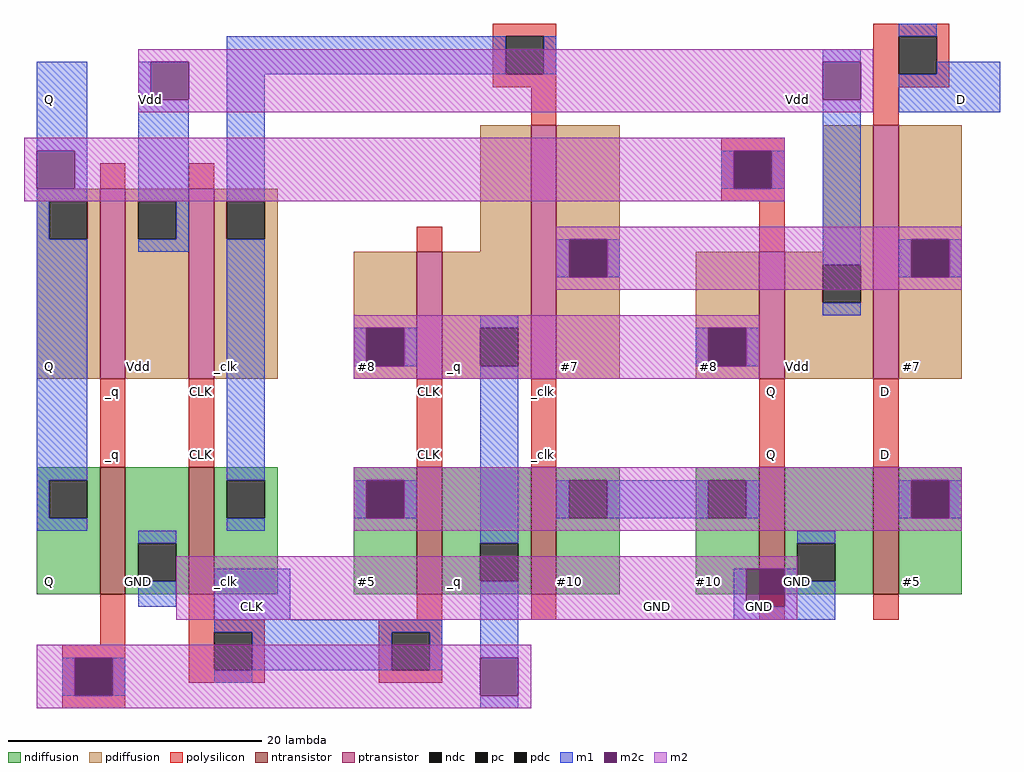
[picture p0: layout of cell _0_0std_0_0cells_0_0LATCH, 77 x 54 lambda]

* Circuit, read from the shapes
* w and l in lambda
.subckt _0_0std_0_0cells_0_0LATCH #10 #5 #7 #8 CLK D GND Q Vdd _clk _q
M1 GND _q Q VSUBS nfet w=10 l=2
M2 _clk CLK GND VSUBS nfet w=10 l=2
M3 _q CLK #5 VSUBS nfet w=10 l=2
M4 #10 _clk _q VSUBS nfet w=10 l=2
M5 GND Q #10 VSUBS nfet w=10 l=2
M6 #5 D GND VSUBS nfet w=10 l=2
M7 Vdd _q Q NWELL pfet w=15 l=2
M8 _clk CLK Vdd NWELL pfet w=15 l=2
M9 _q CLK #8 NWELL pfet w=10 l=2
M10 #7 _clk _q NWELL pfet w=20 l=2
M11 Vdd Q #8 NWELL pfet w=10 l=2
M12 #7 D Vdd NWELL pfet w=20 l=2
.ends

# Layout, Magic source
magic
tech sky130l
<< ndiffusion >>
rect 8 15 13 16
rect 8 12 9 15
rect 12 12 13 15
rect 8 6 13 12
rect 15 10 20 16
rect 15 7 16 10
rect 19 7 20 10
rect 15 6 20 7
rect 22 15 27 16
rect 22 12 23 15
rect 26 12 27 15
rect 22 6 27 12
rect 33 15 38 16
rect 33 12 34 15
rect 37 12 38 15
rect 33 6 38 12
rect 40 10 47 16
rect 40 7 43 10
rect 46 7 47 10
rect 40 6 47 7
rect 49 15 54 16
rect 49 12 50 15
rect 53 12 54 15
rect 49 6 54 12
rect 60 15 65 16
rect 60 12 61 15
rect 64 12 65 15
rect 60 6 65 12
rect 67 10 74 16
rect 67 7 68 10
rect 71 7 74 10
rect 67 6 74 7
rect 76 15 81 16
rect 76 12 77 15
rect 80 12 81 15
rect 76 6 81 12
<< ndc >>
rect 9 12 12 15
rect 16 7 19 10
rect 23 12 26 15
rect 34 12 37 15
rect 43 7 46 10
rect 50 12 53 15
rect 61 12 64 15
rect 68 7 71 10
rect 77 12 80 15
<< ntransistor >>
rect 13 6 15 16
rect 20 6 22 16
rect 38 6 40 16
rect 47 6 49 16
rect 65 6 67 16
rect 74 6 76 16
<< pdiffusion >>
rect 8 37 13 38
rect 8 34 9 37
rect 12 34 13 37
rect 8 23 13 34
rect 15 37 20 38
rect 15 34 16 37
rect 19 34 20 37
rect 15 23 20 34
rect 22 37 27 38
rect 22 34 23 37
rect 26 34 27 37
rect 22 23 27 34
rect 43 33 47 43
rect 33 27 38 33
rect 33 24 34 27
rect 37 24 38 27
rect 33 23 38 24
rect 40 27 47 33
rect 40 24 43 27
rect 46 24 47 27
rect 40 23 47 24
rect 49 34 54 43
rect 49 31 50 34
rect 53 31 54 34
rect 70 33 74 43
rect 49 23 54 31
rect 60 27 65 33
rect 60 24 61 27
rect 64 24 65 27
rect 60 23 65 24
rect 67 32 74 33
rect 67 29 70 32
rect 73 29 74 32
rect 67 23 74 29
rect 76 34 81 43
rect 76 31 77 34
rect 80 31 81 34
rect 76 23 81 31
<< pdc >>
rect 9 34 12 37
rect 16 34 19 37
rect 23 34 26 37
rect 34 24 37 27
rect 43 24 46 27
rect 50 31 53 34
rect 61 24 64 27
rect 70 29 73 32
rect 77 31 80 34
<< ptransistor >>
rect 13 23 15 38
rect 20 23 22 38
rect 38 23 40 33
rect 47 23 49 43
rect 65 23 67 33
rect 74 23 76 43
<< polysilicon >>
rect 44 50 49 51
rect 44 47 45 50
rect 48 47 49 50
rect 44 46 49 47
rect 47 43 49 46
rect 74 50 80 51
rect 74 47 76 50
rect 79 47 80 50
rect 74 46 80 47
rect 74 43 76 46
rect 13 38 15 40
rect 20 38 22 40
rect 38 33 40 35
rect 62 41 67 42
rect 62 38 63 41
rect 66 38 67 41
rect 62 37 67 38
rect 65 33 67 37
rect 13 16 15 23
rect 20 16 22 23
rect 38 16 40 23
rect 47 16 49 23
rect 65 16 67 23
rect 74 16 76 23
rect 13 2 15 6
rect 10 1 15 2
rect 10 -2 11 1
rect 14 -2 15 1
rect 20 4 22 6
rect 38 4 40 6
rect 47 4 49 6
rect 65 4 67 6
rect 74 4 76 6
rect 20 3 26 4
rect 20 0 22 3
rect 25 0 26 3
rect 20 -1 26 0
rect 35 3 40 4
rect 35 0 36 3
rect 39 0 40 3
rect 35 -1 40 0
rect 10 -3 15 -2
<< pc >>
rect 45 47 48 50
rect 76 47 79 50
rect 63 38 66 41
rect 11 -2 14 1
rect 22 0 25 3
rect 36 0 39 3
<< m1 >>
rect 76 50 79 51
rect 8 41 12 48
rect 11 38 12 41
rect 8 37 12 38
rect 8 34 9 37
rect 8 15 12 34
rect 16 45 17 48
rect 16 37 20 45
rect 19 34 20 37
rect 16 33 20 34
rect 23 47 45 50
rect 48 47 49 50
rect 70 48 73 49
rect 23 37 26 47
rect 62 38 63 41
rect 66 38 67 41
rect 8 12 9 15
rect 8 11 12 12
rect 23 15 26 34
rect 49 31 50 34
rect 53 31 54 34
rect 70 32 73 45
rect 79 47 84 48
rect 76 44 84 47
rect 76 31 77 34
rect 80 31 81 34
rect 70 28 73 29
rect 43 27 46 28
rect 33 24 34 27
rect 37 24 38 27
rect 60 24 61 27
rect 64 24 65 27
rect 33 12 34 15
rect 37 12 38 15
rect 23 11 26 12
rect 16 10 19 11
rect 43 10 46 24
rect 49 12 50 15
rect 53 12 61 15
rect 64 12 65 15
rect 76 12 77 15
rect 80 12 81 15
rect 16 5 19 7
rect 22 4 28 8
rect 68 10 71 11
rect 22 3 40 4
rect 10 -2 11 1
rect 14 -2 15 1
rect 25 0 36 3
rect 39 0 40 3
rect 43 1 46 7
rect 63 5 64 8
rect 67 7 68 8
rect 67 5 71 7
rect 63 4 71 5
rect 22 -1 25 0
rect 43 -3 46 -2
<< m2c >>
rect 8 38 11 41
rect 17 45 20 48
rect 70 45 73 48
rect 63 38 66 41
rect 50 31 53 34
rect 77 31 80 34
rect 34 24 37 27
rect 61 24 64 27
rect 34 12 37 15
rect 77 12 80 15
rect 11 -2 14 1
rect 64 5 67 8
rect 43 -2 46 1
<< m2 >>
rect 16 48 74 49
rect 16 45 17 48
rect 20 45 70 48
rect 73 45 74 48
rect 16 44 74 45
rect 7 41 67 42
rect 7 38 8 41
rect 11 38 63 41
rect 66 38 67 41
rect 7 37 67 38
rect 49 34 81 35
rect 49 31 50 34
rect 53 31 77 34
rect 80 31 81 34
rect 49 30 81 31
rect 33 27 65 28
rect 33 24 34 27
rect 37 24 61 27
rect 64 24 65 27
rect 33 23 65 24
rect 33 15 81 16
rect 33 12 34 15
rect 37 12 77 15
rect 80 12 81 15
rect 33 11 81 12
rect 19 8 68 9
rect 19 5 64 8
rect 67 5 68 8
rect 19 4 68 5
rect 8 1 47 2
rect 8 -2 11 1
rect 14 -2 43 1
rect 46 -2 47 1
rect 8 -3 47 -2
<< labels >>
rlabel ndiffusion 23 7 23 7 3 _clk
rlabel pdiffusion 23 24 23 24 3 _clk
rlabel polysilicon 21 17 21 17 3 CLK
rlabel polysilicon 21 22 21 22 3 CLK
rlabel ndiffusion 16 7 16 7 3 GND
rlabel pdiffusion 16 24 16 24 3 Vdd
rlabel polysilicon 14 17 14 17 3 _q
rlabel polysilicon 14 22 14 22 3 _q
rlabel ndiffusion 9 7 9 7 3 Q
rlabel pdiffusion 9 24 9 24 3 Q
rlabel pdiffusion 50 24 50 24 3 #7
rlabel ndiffusion 50 7 50 7 3 #10
rlabel polysilicon 48 17 48 17 3 _clk
rlabel polysilicon 48 22 48 22 3 _clk
rlabel ndiffusion 41 7 41 7 3 _q
rlabel pdiffusion 41 24 41 24 3 _q
rlabel polysilicon 39 17 39 17 3 CLK
rlabel polysilicon 39 22 39 22 3 CLK
rlabel ndiffusion 34 7 34 7 3 #5
rlabel pdiffusion 34 24 34 24 3 #8
rlabel pdiffusion 77 24 77 24 3 #7
rlabel ndiffusion 77 7 77 7 3 #5
rlabel polysilicon 75 17 75 17 3 D
rlabel polysilicon 75 22 75 22 3 D
rlabel ndiffusion 68 7 68 7 3 GND
rlabel pdiffusion 68 24 68 24 3 Vdd
rlabel polysilicon 66 17 66 17 3 Q
rlabel polysilicon 66 22 66 22 3 Q
rlabel ndiffusion 61 7 61 7 3 #10
rlabel pdiffusion 61 24 61 24 3 #8
rlabel m1 9 45 9 45 3 Q
rlabel m1 17 45 17 45 3 Vdd
rlabel m1 81 45 81 45 3 D
rlabel m2 68 45 68 45 3 Vdd
rlabel m1 65 5 65 5 3 GND
rlabel m2 57 5 57 5 3 GND
rlabel m1 25 5 25 5 3 CLK
<< end >>
